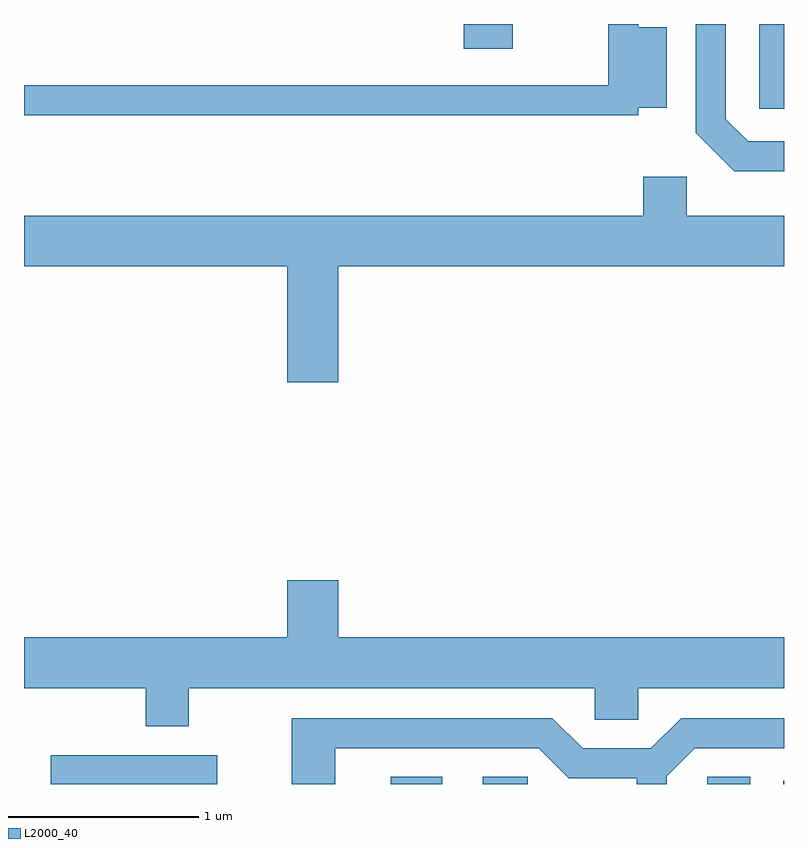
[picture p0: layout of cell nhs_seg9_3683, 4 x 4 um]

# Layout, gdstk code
import gdstk
lib = gdstk.Library(unit=1e-6, precision=1e-09)
def R(c, l, rs):  # rectangles x0, y0, x1, y1
    for r in rs: c.add(gdstk.rectangle(r[:2], r[2:], *l))
def P(c, l, *ps):  # polygons
    for p in ps: c.add(gdstk.Polygon(p, *l))
L2000_40 = (2000, 40)

nhs_seg9_3683 = lib.new_cell('nhs_seg9_3683')
R(nhs_seg9_3683, L2000_40, [(293.753,1982.432,294.629,1982.584), (295.541,1982.432,295.813,1982.469), (296.026,1982.432,296.263,1982.469), (297.206,1982.432,297.434,1982.469), (297.606,1982.432,297.611,1982.449), (297.481,1985.986,297.611,1986.432), (295.926,1986.301,296.184,1986.432)])
P(nhs_seg9_3683, L2000_40, [(296.844,1985.991),(296.994,1985.991),(296.994,1986.414),(296.844,1986.414),(296.844,1986.432),(296.686,1986.432),(296.686,1986.109),(293.611,1986.109),(293.611,1985.951),(296.844,1985.951)],
  [(297.611,1985.814),(297.422,1985.814),(297.304,1985.932),(297.304,1986.432),(297.146,1986.432),(297.146,1985.859),(297.349,1985.656),(297.611,1985.656)],
  [(295.264,1985.156),(297.611,1985.156),(297.611,1985.424),(297.099,1985.424),(297.099,1985.629),(296.871,1985.629),(296.871,1985.424),(293.611,1985.424),(293.611,1985.156),(294.996,1985.156),(294.996,1984.546),(295.264,1984.546)],
  [(294.479,1982.936),(296.616,1982.936),(296.616,1982.771),(296.844,1982.771),(296.844,1982.936),(297.611,1982.936),(297.611,1983.204),(295.264,1983.204),(295.264,1983.504),(294.996,1983.504),(294.996,1983.204),(293.611,1983.204),(293.611,1982.936),(294.251,1982.936),(294.251,1982.736),(294.479,1982.736)],
  [(295.249,1982.621),(296.319,1982.621),(296.479,1982.461),(296.836,1982.461),(296.836,1982.432),(296.994,1982.432),(296.994,1982.474),(297.142,1982.621),(297.611,1982.621),(297.611,1982.779),(297.069,1982.779),(296.909,1982.619),(296.552,1982.619),(296.392,1982.779),(295.021,1982.779),(295.021,1982.432),(295.249,1982.432)])

lib.write_gds('nhs_seg9_3683.gds')
